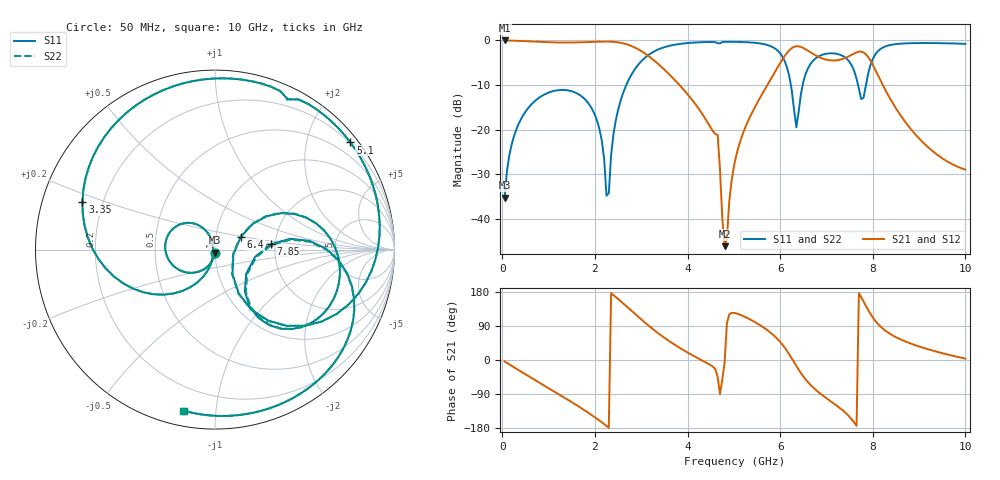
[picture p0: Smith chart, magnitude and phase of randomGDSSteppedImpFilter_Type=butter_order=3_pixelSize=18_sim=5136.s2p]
! freq	dB(S11)	phase(S11)	dB(S12)	phase(S12)
!  dB(S21)	phase(S21)	dB(S22)	phase(S22)
!S-par simulation data
#  GHz  S  DB  R 50
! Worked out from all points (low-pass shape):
!   200 points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, 50 MHz to 10 GHz, reference 50 ohm
!   highest |S21| = -0.01 dB at 50 MHz (marker M1); lowest = -46.1 dB at 4.8 GHz (marker M2)
!   |S21| within 3 dB of the highest: start of sweep to 3.093 GHz; 6.133 GHz to 6.708 GHz (575.4 MHz wide, 8.96 % of centre) (the widest 2 of 3)
!   lowest |S11| = -35.3 dB at 50 MHz (marker M3), VSWR 1.04, Z = 49.9 - j1.72 ohm
!   |S11| at or under -10 dB: start of sweep to 2.678 GHz; 6.231 GHz to 6.487 GHz (255.8 MHz wide, 4.02 % of centre); 7.681 GHz to 7.852 GHz (171.1 MHz wide, 2.2 % of centre)
!   |S22| runs from -35.3 to -0.3 dB; largest |S21 - S12| = 0
!   S11 on the Smith chart (normalised r, x): 50 MHz: 1.00, -0.03; 3.35 GHz: 0.12, +0.17; 5.1 GHz: 0.18, +2.86; 6.4 GHz: 1.32, +0.19; 7.85 GHz: 1.89, +0.12; 10 GHz: 0.08, -0.82
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0.05  -35.27 -92.8  -0.01 -3.9  -0.01 -3.9  -35.27 -92.8
0.2  -23.42 -105.2  -0.05 -15.3  -0.05 -15.3  -23.42 -105.2
0.55  -15.28 -131.8  -0.19 -41.5  -0.19 -41.5  -15.28 -131.8
1.75  -12.86 139.8  -0.41 -130.5  -0.41 -130.5  -12.85 139.9
2.1  -19.96 113.4  -0.27 -160.0  -0.27 -160.0  -19.96 113.6
2.25  -34.81 127.0  -0.25 -173.8  -0.25 -173.8  -34.71 128.0
2.6  -12.06 -123.1  -0.63 150.6  -0.63 150.6  -12.06 -123.2
3.35  -2.10 160.2  -5.13 72.1  -5.13 72.1  -2.10 160.2
3.4  -1.88 155.7  -5.59 67.5  -5.59 67.5  -1.88 155.7
4.05  -0.55 104.5  -12.69 16.2  -12.69 16.2  -0.55 104.5
4.65  -0.63 64.2  -21.19 -44.4  -21.19 -44.4  -0.61 64.3
4.8  -0.33 57.4  -46.12 -7.1  -46.12 -7.1  -0.32 57.4
5.05  -0.32 41.5  -25.90 123.1  -25.90 123.1  -0.32 41.5
5.1  -0.33 38.4  -23.91 121.1  -23.91 121.1  -0.33 38.3
5.65  -0.84 0.6  -11.32 85.3  -11.32 85.3  -0.84 0.5
6.05  -3.64 -40.2  -4.25 40.4  -4.25 40.4  -3.65 -40.3
6.4  -15.95 26.1  -1.32 -25.6  -1.32 -25.6  -16.03 26.8
6.7  -4.67 14.2  -2.96 -71.1  -2.96 -71.1  -4.67 14.5
7.45  -4.24 -46.3  -3.73 -143.9  -3.73 -143.9  -4.23 -45.9
7.85  -10.13 5.5  -3.08 143.2  -3.08 143.2  -10.01 4.6
8.35  -1.10 -31.0  -12.60 70.8  -12.60 70.8  -1.10 -31.2
10  -0.78 -101.0  -28.96 3.6  -28.96 3.6  -0.78 -101.2
